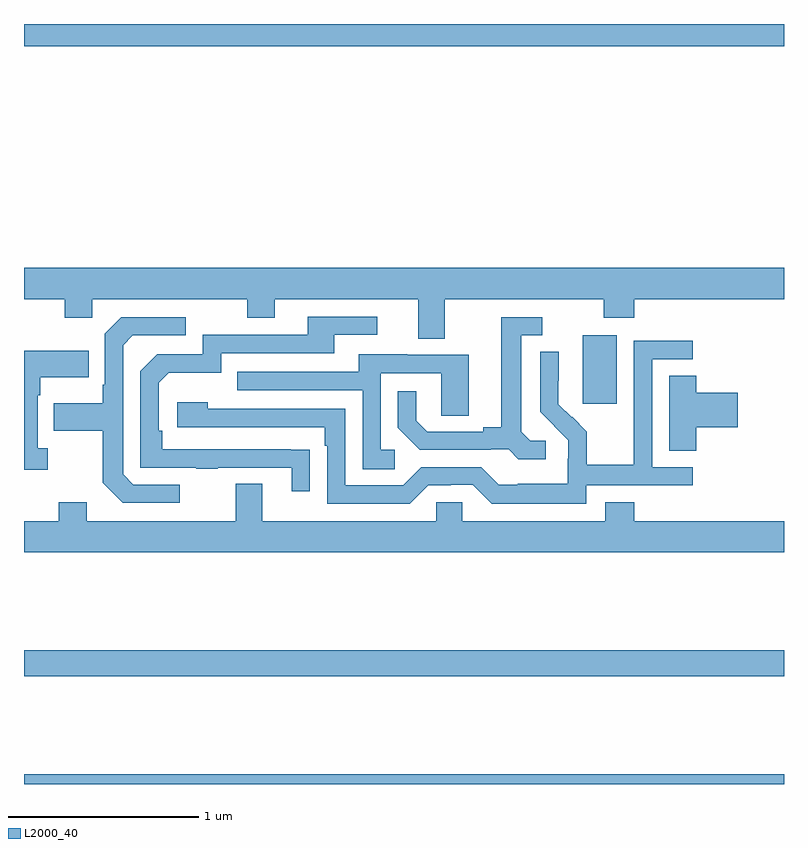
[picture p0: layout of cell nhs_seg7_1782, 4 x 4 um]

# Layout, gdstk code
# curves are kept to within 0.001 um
import gdstk
lib = gdstk.Library(unit=1e-6, precision=1e-09)
def R(c, l, rs):  # rectangles x0, y0, x1, y1
    for r in rs: c.add(gdstk.rectangle(r[:2], r[2:], *l))
def P(c, l, *ps):  # polygons
    for p in ps: c.add(gdstk.Polygon(p, *l))
L2000_40 = (2000, 40)

nhs_seg7_1782 = lib.new_cell('nhs_seg7_1782')
R(nhs_seg7_1782, L2000_40, [(231,1062,235,1062.052), (231,1062.568,235,1062.704), (233.942,1064.001,234.121,1064.362), (231,1065.884,235,1066)])
P(nhs_seg7_1782, L2000_40, [(233.215,1064.552),(234.052,1064.552),(234.052,1064.453),(234.212,1064.453),(234.212,1064.552),(235,1064.552),(235,1064.716),(231,1064.716),(231,1064.552),(231.214,1064.552),(231.214,1064.453),(231.36,1064.453),(231.36,1064.552),(232.174,1064.552),(232.174,1064.453),(232.321,1064.453),(232.321,1064.552),(233.075,1064.552),(233.075,1064.344),(233.215,1064.344)],
  [(232.505,1063.76),(231.728,1063.761),(231.728,1063.858),(231.708,1063.858),(231.708,1064.112),(231.761,1064.165),(232.038,1064.165),(232.038,1064.268),(232.633,1064.268),(232.633,1064.364),(232.858,1064.364),(232.858,1064.46),(232.493,1064.46),(232.493,1064.364),(231.942,1064.364),(231.942,1064.262),(231.702,1064.262),(231.612,1064.172),(231.612,1063.665),(231.907,1063.665),(231.907,1063.66),(232.019,1063.66),(232.019,1063.665),(232.409,1063.665),(232.409,1063.542),(232.505,1063.542)],
  [(231.82,1063.575),(231.576,1063.575),(231.522,1063.629),(231.522,1064.31),(231.573,1064.361),(231.85,1064.361),(231.85,1064.457),(231.513,1064.457),(231.426,1064.37),(231.426,1064.101),(231.414,1064.101),(231.414,1064.005),(231.157,1064.005),(231.157,1063.858),(231.414,1063.858),(231.414,1063.585),(231.519,1063.479),(231.82,1063.479)],
  [(233.746,1063.806),(233.664,1063.806),(233.617,1063.853),(233.617,1064.361),(233.728,1064.361),(233.728,1064.457),(233.513,1064.457),(233.513,1063.877),(233.417,1063.877),(233.417,1063.854),(233.122,1063.854),(233.065,1063.911),(233.065,1064.068),(232.968,1064.068),(232.968,1063.874),(233.084,1063.758),(233.456,1063.758),(233.456,1063.761),(233.55,1063.761),(233.602,1063.709),(233.746,1063.709)],
  [(233.958,1063.572),(234.52,1063.572),(234.52,1063.668),(234.306,1063.668),(234.306,1064.235),(234.52,1064.235),(234.52,1064.334),(234.21,1064.334),(234.21,1063.904),(234.208,1063.904),(234.208,1063.681),(233.963,1063.681),(233.963,1063.855),(233.886,1063.932),(233.883,1063.929),(233.813,1064),(233.814,1064.276),(233.718,1064.276),(233.718,1063.958),(233.864,1063.81),(233.864,1063.713),(233.862,1063.713),(233.862,1063.579),(233.599,1063.579),(233.599,1063.575),(233.499,1063.575),(233.406,1063.668),(233.091,1063.668),(232.995,1063.572),(232.692,1063.572),(232.692,1063.974),(231.968,1063.974),(231.968,1064.008),(231.807,1064.008),(231.807,1063.878),(232.583,1063.878),(232.583,1063.781),(232.596,1063.781),(232.596,1063.476),(233.031,1063.476),(233.127,1063.572),(233.246,1063.572),(233.246,1063.575),(233.361,1063.575),(233.461,1063.475),(233.958,1063.475)],
  [(231.124,1063.766),(231.072,1063.766),(231.072,1064.045),(231.085,1064.045),(231.085,1064.141),(231.341,1064.141),(231.341,1064.281),(231,1064.281),(231,1063.653),(231.124,1063.653)],
  [(232.951,1063.758),(232.878,1063.758),(232.878,1064.163),(233.196,1064.163),(233.196,1063.939),(233.341,1063.939),(233.341,1064.259),(233.017,1064.259),(233.017,1064.263),(232.763,1064.263),(232.763,1064.169),(232.123,1064.169),(232.123,1064.073),(232.782,1064.073),(232.782,1063.657),(232.951,1063.657)],
  [(234.539,1063.877),(234.757,1063.877),(234.757,1064.06),(234.539,1064.06),(234.539,1064.15),(234.395,1064.15),(234.395,1063.753),(234.539,1063.753)],
  [(235,1063.384),(234.212,1063.384),(234.212,1063.483),(234.059,1063.483),(234.059,1063.384),(233.307,1063.384),(233.307,1063.482),(233.169,1063.482),(233.169,1063.384),(232.255,1063.384),(232.255,1063.579),(232.115,1063.579),(232.115,1063.384),(231.331,1063.384),(231.331,1063.483),(231.184,1063.483),(231.184,1063.384),(231,1063.384),(231,1063.22),(235,1063.22)])

lib.write_gds('nhs_seg7_1782.gds')
